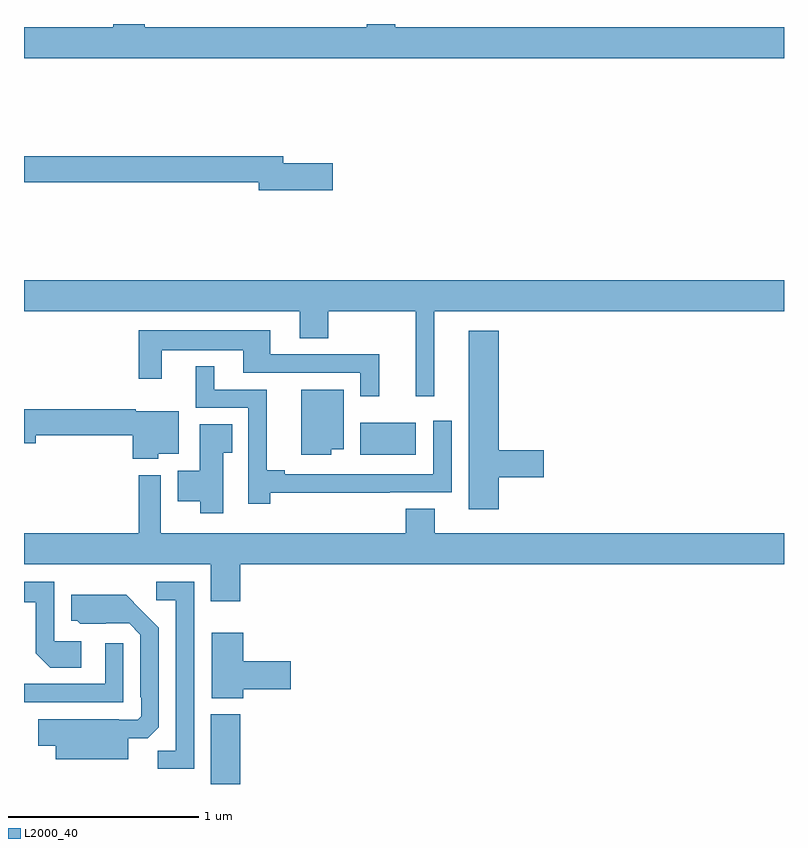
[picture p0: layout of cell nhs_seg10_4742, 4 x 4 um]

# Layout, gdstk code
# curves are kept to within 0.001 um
import gdstk
lib = gdstk.Library(unit=1e-6, precision=1e-09)
def R(c, l, rs):  # rectangles x0, y0, x1, y1
    for r in rs: c.add(gdstk.rectangle(r[:2], r[2:], *l))
def P(c, l, *ps):  # polygons
    for p in ps: c.add(gdstk.Polygon(p, *l))
L2000_40 = (2000, 40)

nhs_seg10_4742 = lib.new_cell('nhs_seg10_4742')
R(nhs_seg10_4742, L2000_40, [(383.984,1292.5,384.137,1292.866), (384.77,1294.232,385.063,1294.402)])
P(nhs_seg10_4742, L2000_40, [(387,1296.484),(384.955,1296.484),(384.955,1296.5),(384.803,1296.5),(384.803,1296.484),(383.636,1296.484),(383.636,1296.5),(383.471,1296.5),(383.471,1296.484),(383,1296.484),(383,1296.32),(387,1296.32)],
  [(384.625,1295.768),(384.364,1295.768),(384.364,1295.804),(383,1295.804),(383,1295.668),(384.236,1295.668),(384.236,1295.626),(384.625,1295.626)],
  [(385.16,1294.988),(387,1294.988),(387,1295.152),(383,1295.152),(383,1294.988),(384.452,1294.988),(384.452,1294.846),(384.6,1294.846),(384.6,1294.988),(385.061,1294.988),(385.061,1294.542),(385.16,1294.542)],
  [(384.869,1294.761),(384.295,1294.761),(384.295,1294.888),(383.604,1294.888),(383.604,1294.632),(383.725,1294.632),(383.725,1294.784),(384.155,1294.784),(384.155,1294.665),(384.771,1294.665),(384.771,1294.542),(384.869,1294.542)],
  [(385.499,1294.114),(385.735,1294.114),(385.735,1294.256),(385.499,1294.256),(385.499,1294.885),(385.34,1294.885),(385.34,1293.945),(385.499,1293.945)],
  [(384.296,1294.034),(384.926,1294.034),(384.926,1294.035),(385.251,1294.035),(385.251,1294.411),(385.155,1294.411),(385.155,1294.131),(384.373,1294.131),(384.373,1294.151),(384.278,1294.151),(384.278,1294.575),(384.001,1294.575),(384.001,1294.699),(383.903,1294.699),(383.903,1294.479),(384.18,1294.479),(384.18,1293.975),(384.296,1293.975)],
  [(384.616,1294.262),(384.682,1294.262),(384.682,1294.576),(384.458,1294.576),(384.458,1294.232),(384.616,1294.232)],
  [(383.706,1294.238),(383.815,1294.238),(383.815,1294.462),(383.589,1294.462),(383.589,1294.472),(383,1294.472),(383,1294.294),(383.062,1294.294),(383.062,1294.336),(383.573,1294.336),(383.573,1294.211),(383.706,1294.211)],
  [(384.049,1294.243),(384.095,1294.243),(384.095,1294.394),(383.924,1294.394),(383.924,1294.15),(383.81,1294.15),(383.81,1293.989),(383.927,1293.989),(383.927,1293.924),(384.049,1293.924)],
  [(384.137,1293.656),(387,1293.656),(387,1293.82),(385.162,1293.82),(385.162,1293.95),(385.01,1293.95),(385.01,1293.82),(383.721,1293.82),(383.721,1294.126),(383.605,1294.126),(383.605,1293.82),(383,1293.82),(383,1293.656),(383.984,1293.656),(383.984,1293.462),(384.137,1293.462)],
  [(383.895,1293.564),(383.697,1293.564),(383.697,1293.468),(383.799,1293.468),(383.799,1292.675),(383.704,1292.675),(383.704,1292.58),(383.895,1292.58)],
  [(383.302,1293.252),(383.16,1293.252),(383.16,1293.564),(383,1293.564),(383,1293.456),(383.061,1293.456),(383.061,1293.188),(383.137,1293.112),(383.302,1293.112)],
  [(383.548,1292.741),(383.65,1292.741),(383.709,1292.8),(383.709,1293.322),(383.537,1293.496),(383.249,1293.496),(383.249,1293.36),(383.28,1293.36),(383.296,1293.344),(383.553,1293.345),(383.613,1293.285),(383.613,1292.956),(383.616,1292.956),(383.616,1292.856),(383.598,1292.838),(383.498,1292.838),(383.498,1292.842),(383.074,1292.842),(383.074,1292.702),(383.168,1292.702),(383.168,1292.63),(383.548,1292.63)],
  [(384.154,1292.999),(384.403,1292.999),(384.403,1293.146),(384.154,1293.146),(384.154,1293.295),(383.987,1293.295),(383.987,1292.951),(384.154,1292.951)],
  [(383.523,1293.241),(383.427,1293.241),(383.427,1293.027),(383,1293.027),(383,1292.931),(383.523,1292.931)])

lib.write_gds('nhs_seg10_4742.gds')
